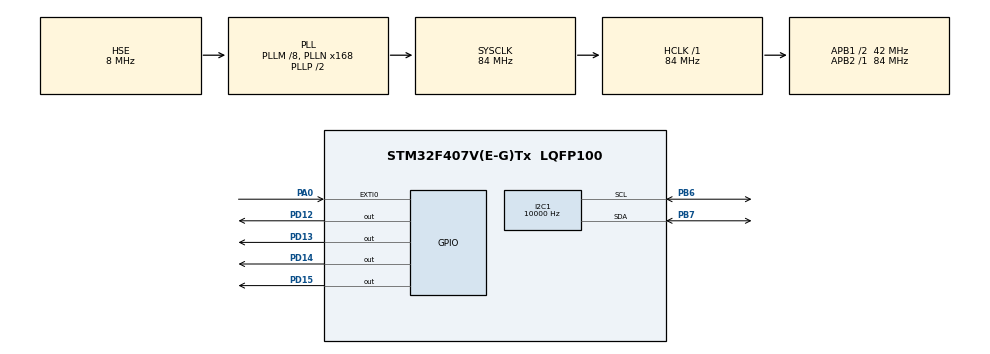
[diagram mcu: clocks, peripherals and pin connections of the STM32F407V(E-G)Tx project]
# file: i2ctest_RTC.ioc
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I2C1.ClockSpeed=10000
I2C1.I2C_Mode=I2C_Standard
Mcu.Family=STM32F4
Mcu.Name=STM32F407V(E-G)Tx
Mcu.Package=LQFP100
NVIC.PriorityGroup=NVIC_PRIORITYGROUP_4
PA0-WKUP.Signal=GPXTI0
PA13.Mode=Serial_Wire
PA13.Signal=SYS_JTMS-SWDIO
PA14.Mode=Serial_Wire
PA14.Signal=SYS_JTCK-SWCLK
PB6.Mode=I2C
PB6.Signal=I2C1_SCL
PB7.Mode=I2C
PB7.Signal=I2C1_SDA
PC14-OSC32_IN.Mode=LSE-External-Oscillator
PC14-OSC32_IN.Signal=RCC_OSC32_IN
PC15-OSC32_OUT.Mode=LSE-External-Oscillator
PC15-OSC32_OUT.Signal=RCC_OSC32_OUT
PD12.GPIO_PuPd=GPIO_NOPULL
PD12.GPIO_Speed=GPIO_SPEED_FREQ_VERY_HIGH
PD12.PinState=GPIO_PIN_RESET
PD12.Signal=GPIO_Output
PD13.GPIO_Speed=GPIO_SPEED_FREQ_VERY_HIGH
PD13.Signal=GPIO_Output
PD14.GPIO_Speed=GPIO_SPEED_FREQ_VERY_HIGH
PD14.Signal=GPIO_Output
PD15.GPIO_Speed=GPIO_SPEED_FREQ_VERY_HIGH
PD15.Signal=GPIO_Output
PH0-OSC_IN.Mode=HSE-External-Clock-Source
PH0-OSC_IN.Signal=RCC_OSC_IN
PH1-OSC_OUT.Mode=HSE-External-Clock-Source
PH1-OSC_OUT.Signal=RCC_OSC_OUT
ProjectManager.HeapSize=0x200
ProjectManager.StackSize=0x400
ProjectManager.TargetToolchain=SW4STM32
RCC.48MHZClocksFreq_Value=42000000
RCC.AHBFreq_Value=84000000
RCC.APB1CLKDivider=RCC_HCLK_DIV2
RCC.APB1Freq_Value=42000000
RCC.APB1TimFreq_Value=84000000
RCC.APB2Freq_Value=84000000
RCC.APB2TimFreq_Value=84000000
RCC.CortexFreq_Value=84000000
RCC.HCLKFreq_Value=84000000
RCC.HSE_VALUE=8000000
RCC.HSI_VALUE=16000000
RCC.PLLM=8
RCC.PLLN=168
RCC.PLLSourceVirtual=RCC_PLLSOURCE_HSE
RCC.RCC_RTC_Clock_Source=RCC_RTCCLKSOURCE_LSI
RCC.RCC_RTC_Clock_SourceVirtual=RCC_RTCCLKSOURCE_LSE
RCC.SYSCLKFreq_VALUE=84000000
RCC.SYSCLKSource=RCC_SYSCLKSOURCE_PLLCLK
RCC.VCOOutputFreq_Value=168000000
RTC.Alarm=RTC_ALARM_A
RTC.Alarm_B=RTC_ALARM_B
RTC.Format=RTC_FORMAT_BCD
RTC.Hours=23
RTC.Minutes=59
RTC.Minutes_A=0
RTC.Seconds=59
RTC.Seconds_A=5
RTC.SubSeconds_A=0
RTC.Year=19
VP_RTC_VS_RTC_Activate.Mode=RTC_Enabled
VP_RTC_VS_RTC_Alarm_A_Intern.Mode=Alarm A
VP_RTC_VS_RTC_Alarm_B_Intern.Mode=Alarm B
VP_RTC_VS_RTC_Calendar.Mode=RTC_Calendar
board=custom

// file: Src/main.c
/* USER CODE BEGIN Header */
/**
 ******************************************************************************
 * @file           : main.c
 * @brief          : Main program body
 ******************************************************************************
 ** This notice applies to any and all portions of this file
 * that are not between comment pairs USER CODE BEGIN and
 * USER CODE END. Other portions of this file, whether
 * inserted by the user or by software development tools
 * are owned by their respective copyright owners.
 *
 * COPYRIGHT(c) 2019 STMicroelectronics
 *
 * Redistribution and use in source and binary forms, with or without modification,
 * are permitted provided that the following conditions are met:
 *   1. Redistributions of source code must retain the above copyright notice,
 *      this list of conditions and the following disclaimer.
 *   2. Redistributions in binary form must reproduce the above copyright notice,
 *      this list of conditions and the following disclaimer in the documentation
 *      and/or other materials provided with the distribution.
 *   3. Neither the name of STMicroelectronics nor the names of its contributors
 *      may be used to endorse or promote products derived from this software
 *      without specific prior written permission.
 *
 * THIS SOFTWARE IS PROVIDED BY THE COPYRIGHT HOLDERS AND CONTRIBUTORS "AS IS"
 * AND ANY EXPRESS OR IMPLIED WARRANTIES, INCLUDING, BUT NOT LIMITED TO, THE
 * IMPLIED WARRANTIES OF MERCHANTABILITY AND FITNESS FOR A PARTICULAR PURPOSE ARE
 * DISCLAIMED. IN NO EVENT SHALL THE COPYRIGHT HOLDER OR CONTRIBUTORS BE LIABLE
 * FOR ANY DIRECT, INDIRECT, INCIDENTAL, SPECIAL, EXEMPLARY, OR CONSEQUENTIAL
 * DAMAGES (INCLUDING, BUT NOT LIMITED TO, PROCUREMENT OF SUBSTITUTE GOODS OR
 * SERVICES; LOSS OF USE, DATA, OR PROFITS; OR BUSINESS INTERRUPTION) HOWEVER
 * CAUSED AND ON ANY THEORY OF LIABILITY, WHETHER IN CONTRACT, STRICT LIABILITY,
 * OR TORT (INCLUDING NEGLIGENCE OR OTHERWISE) ARISING IN ANY WAY OUT OF THE USE
 * OF THIS SOFTWARE, EVEN IF ADVISED OF THE POSSIBILITY OF SUCH DAMAGE.
 *
 ******************************************************************************
 */
/* USER CODE END Header */

#include "main.h"

/* USER CODE BEGIN Includes */
#include "ssd1306_tests.h"
#include "ssd1306.h"
#include "rtc_mon_1.h"
/* USER CODE END Includes */

I2C_HandleTypeDef hi2c1;

RTC_HandleTypeDef hrtc;

/* USER CODE BEGIN PV */
RTC_TimeTypeDef sTime;
RTC_DateTypeDef sDate;
static uint32_t State_counter;
uint32_t State_counter2=0;
static uint32_t State_counter3 =0;
uint32_t tickstart1 = 0;
uint32_t buttonpressed =0; lastdebouncetime;
uint32_t longpressed_detected =0;
/* USER CODE END PV */

void SystemClock_Config(void);
static void MX_GPIO_Init(void);
static void MX_I2C1_Init(void);
static void MX_RTC_Init(void);

/* USER CODE BEGIN 0 */
void init() {
	ssd1306_Init();
	ssd1306_Fill(White);
	// Flush buffer to screen
	ssd1306_UpdateScreen();
}

/* USER CODE END 0 */

int main(void)
{

  /* MCU Configuration--------------------------------------------------------*/

  /* Reset of all peripherals, Initializes the Flash interface and the Systick. */
  HAL_Init();

  /* Configure the system clock */
  SystemClock_Config();

  /* USER CODE BEGIN SysInit */
	__HAL_RCC_PWR_CLK_ENABLE();
	void HAL_PWR_EnableBkUpAccess();
	__HAL_RCC_RTC_CONFIG(RCC_RTCCLKSOURCE_LSI);
	__HAL_RCC_RTC_ENABLE();

  /* USER CODE END SysInit */

  /* Initialize all configured peripherals */
  MX_GPIO_Init();
  MX_I2C1_Init();
  MX_RTC_Init();
  /* USER CODE BEGIN 2 */
	init();
  /* USER CODE END 2 */

  /* Infinite loop */
  /* USER CODE BEGIN WHILE */
	while (1)
	{
		//  HAL_PWR_EnterSTOPMode(PWR_LOWPOWERREGULATOR_ON,PWR_STOPENTRY_WFI);
		HAL_GPIO_TogglePin(GPIOD, GPIO_PIN_12);
		HAL_RTC_GetTime(&hrtc,&sTime,RTC_FORMAT_BIN);
		HAL_RTC_GetDate(&hrtc, &sDate, RTC_FORMAT_BIN);
		RTC_Mon(&sTime);

		HAL_Delay(100);
		//HAL_Delay(1000);
		longpressed_detected = (HAL_GetTick()- lastdebouncetime);
		if((HAL_GPIO_ReadPin(GPIOA,GPIO_PIN_0)==1)&&(!buttonpressed)&&(longpressed_detected>500))
		{
			State_counter++;

			if (State_counter >=30)
			{
				HAL_GPIO_WritePin(GPIOD, GPIO_PIN_12|GPIO_PIN_13|GPIO_PIN_14|GPIO_PIN_15, GPIO_PIN_SET);

				HAL_Delay(100);
				for(tickstart1=0;tickstart1<50000;tickstart1++)
				{

					State_counter3++;
					if (HAL_GPIO_ReadPin(GPIOA,GPIO_PIN_0)==1)
										{

										}
				}
				State_counter =0;
			}
			else
			{
				HAL_GPIO_WritePin(GPIOD, GPIO_PIN_12|GPIO_PIN_13|GPIO_PIN_14|GPIO_PIN_15, GPIO_PIN_RESET);
			}
		}
    /* USER CODE END WHILE */

	}
}

void SystemClock_Config(void)
{
  RCC_OscInitTypeDef RCC_OscInitStruct = {0};
  RCC_ClkInitTypeDef RCC_ClkInitStruct = {0};
  RCC_PeriphCLKInitTypeDef PeriphClkInitStruct = {0};

  /**Configure the main internal regulator output voltage
  */
  __HAL_RCC_PWR_CLK_ENABLE();
  __HAL_PWR_VOLTAGESCALING_CONFIG(PWR_REGULATOR_VOLTAGE_SCALE1);
  /**Initializes the CPU, AHB and APB busses clocks
  */
  RCC_OscInitStruct.OscillatorType = RCC_OSCILLATORTYPE_LSI|RCC_OSCILLATORTYPE_HSE;
  RCC_OscInitStruct.HSEState = RCC_HSE_BYPASS;
  RCC_OscInitStruct.LSIState = RCC_LSI_ON;
  RCC_OscInitStruct.PLL.PLLState = RCC_PLL_ON;
  RCC_OscInitStruct.PLL.PLLSource = RCC_PLLSOURCE_HSE;
  RCC_OscInitStruct.PLL.PLLM = 8;
  RCC_OscInitStruct.PLL.PLLN = 168;
  RCC_OscInitStruct.PLL.PLLP = RCC_PLLP_DIV2;
  RCC_OscInitStruct.PLL.PLLQ = 4;
  if (HAL_RCC_OscConfig(&RCC_OscInitStruct) != HAL_OK)
  {
    Error_Handler();
  }
  /**Initializes the CPU, AHB and APB busses clocks
  */
  RCC_ClkInitStruct.ClockType = RCC_CLOCKTYPE_HCLK|RCC_CLOCKTYPE_SYSCLK
                              |RCC_CLOCKTYPE_PCLK1|RCC_CLOCKTYPE_PCLK2;
  RCC_ClkInitStruct.SYSCLKSource = RCC_SYSCLKSOURCE_PLLCLK;
  RCC_ClkInitStruct.AHBCLKDivider = RCC_SYSCLK_DIV1;
  RCC_ClkInitStruct.APB1CLKDivider = RCC_HCLK_DIV2;
  RCC_ClkInitStruct.APB2CLKDivider = RCC_HCLK_DIV1;

  if (HAL_RCC_ClockConfig(&RCC_ClkInitStruct, FLASH_LATENCY_2) != HAL_OK)
  {
    Error_Handler();
  }
  PeriphClkInitStruct.PeriphClockSelection = RCC_PERIPHCLK_RTC;
  PeriphClkInitStruct.RTCClockSelection = RCC_RTCCLKSOURCE_LSI;
  if (HAL_RCCEx_PeriphCLKConfig(&PeriphClkInitStruct) != HAL_OK)
  {
    Error_Handler();
  }
}

static void MX_I2C1_Init(void)
{

  hi2c1.Instance = I2C1;
  hi2c1.Init.ClockSpeed = 10000;
  hi2c1.Init.DutyCycle = I2C_DUTYCYCLE_2;
  hi2c1.Init.OwnAddress1 = 0;
  hi2c1.Init.AddressingMode = I2C_ADDRESSINGMODE_7BIT;
  hi2c1.Init.DualAddressMode = I2C_DUALADDRESS_DISABLE;
  hi2c1.Init.OwnAddress2 = 0;
  hi2c1.Init.GeneralCallMode = I2C_GENERALCALL_DISABLE;
  hi2c1.Init.NoStretchMode = I2C_NOSTRETCH_DISABLE;
  if (HAL_I2C_Init(&hi2c1) != HAL_OK)
  {
    Error_Handler();
  }

}

static void MX_RTC_Init(void)
{

  RTC_TimeTypeDef sTime = {0};
  RTC_DateTypeDef sDate = {0};
  RTC_AlarmTypeDef sAlarm = {0};

  /**Initialize RTC Only
  */
  hrtc.Instance = RTC;
  hrtc.Init.HourFormat = RTC_HOURFORMAT_24;
  hrtc.Init.AsynchPrediv = 127;
  hrtc.Init.SynchPrediv = 255;
  hrtc.Init.OutPut = RTC_OUTPUT_DISABLE;
  hrtc.Init.OutPutPolarity = RTC_OUTPUT_POLARITY_HIGH;
  hrtc.Init.OutPutType = RTC_OUTPUT_TYPE_OPENDRAIN;
  if (HAL_RTC_Init(&hrtc) != HAL_OK)
  {
    Error_Handler();
  }

  /**Initialize RTC and set the Time and Date
  */
  sTime.Hours = 0x23;
  sTime.Minutes = 0x59;
  sTime.Seconds = 0x59;
  sTime.DayLightSaving = RTC_DAYLIGHTSAVING_NONE;
  sTime.StoreOperation = RTC_STOREOPERATION_RESET;
  if (HAL_RTC_SetTime(&hrtc, &sTime, RTC_FORMAT_BCD) != HAL_OK)
  {
    Error_Handler();
  }
  sDate.WeekDay = RTC_WEEKDAY_MONDAY;
  sDate.Month = RTC_MONTH_JANUARY;
  sDate.Date = 0x1;
  sDate.Year = 0x19;

  if (HAL_RTC_SetDate(&hrtc, &sDate, RTC_FORMAT_BCD) != HAL_OK)
  {
    Error_Handler();
  }
  /**Enable the Alarm A
  */
  sAlarm.AlarmTime.Hours = 0x0;
  sAlarm.AlarmTime.Minutes = 0x0;
  sAlarm.AlarmTime.Seconds = 0x5;
  sAlarm.AlarmTime.SubSeconds = 0x0;
  sAlarm.AlarmTime.DayLightSaving = RTC_DAYLIGHTSAVING_NONE;
  sAlarm.AlarmTime.StoreOperation = RTC_STOREOPERATION_RESET;
  sAlarm.AlarmMask = RTC_ALARMMASK_NONE;
  sAlarm.AlarmSubSecondMask = RTC_ALARMSUBSECONDMASK_ALL;
  sAlarm.AlarmDateWeekDaySel = RTC_ALARMDATEWEEKDAYSEL_DATE;
  sAlarm.AlarmDateWeekDay = 0x1;
  sAlarm.Alarm = RTC_ALARM_A;
  if (HAL_RTC_SetAlarm(&hrtc, &sAlarm, RTC_FORMAT_BCD) != HAL_OK)
  {
    Error_Handler();
  }
  /**Enable the Alarm B
  */
  sAlarm.AlarmTime.Seconds = 0x0;
  sAlarm.AlarmDateWeekDay = 0x1;
  sAlarm.Alarm = RTC_ALARM_B;
  if (HAL_RTC_SetAlarm(&hrtc, &sAlarm, RTC_FORMAT_BCD) != HAL_OK)
  {
    Error_Handler();
  }

}

static void MX_GPIO_Init(void)
{
  GPIO_InitTypeDef GPIO_InitStruct = {0};

  /* GPIO Ports Clock Enable */
  __HAL_RCC_GPIOC_CLK_ENABLE();
  __HAL_RCC_GPIOH_CLK_ENABLE();
  __HAL_RCC_GPIOA_CLK_ENABLE();
  __HAL_RCC_GPIOD_CLK_ENABLE();
  __HAL_RCC_GPIOB_CLK_ENABLE();

  /*Configure GPIO pin Output Level */
  HAL_GPIO_WritePin(GPIOD, GPIO_PIN_12|GPIO_PIN_13|GPIO_PIN_14|GPIO_PIN_15, GPIO_PIN_RESET);

  /*Configure GPIO pin : PA0 */
  GPIO_InitStruct.Pin = GPIO_PIN_0;
  GPIO_InitStruct.Mode = GPIO_MODE_IT_RISING;
  GPIO_InitStruct.Pull = GPIO_NOPULL;
  HAL_GPIO_Init(GPIOA, &GPIO_InitStruct);

  /*Configure GPIO pins : PD12 PD13 PD14 PD15 */
  GPIO_InitStruct.Pin = GPIO_PIN_12|GPIO_PIN_13|GPIO_PIN_14|GPIO_PIN_15;
  GPIO_InitStruct.Mode = GPIO_MODE_OUTPUT_PP;
  GPIO_InitStruct.Pull = GPIO_NOPULL;
  GPIO_InitStruct.Speed = GPIO_SPEED_FREQ_VERY_HIGH;
  HAL_GPIO_Init(GPIOD, &GPIO_InitStruct);

}

/* USER CODE BEGIN 4 */

void HAL_GPIO_EXTI_Callback(uint16_t GPIO_Pin)
{
lastdebouncetime = HAL_GetTick();
buttonpressed =0;

}

/* USER CODE END 4 */

void Error_Handler(void)
{
}

/************************ (C) COPYRIGHT STMicroelectronics *****END OF FILE****/
